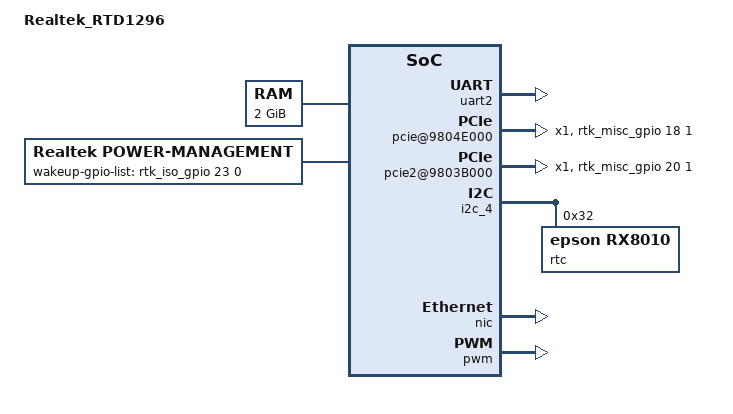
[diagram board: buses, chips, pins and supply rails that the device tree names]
/dts-v1/;
#define CONFIG_ARCH_RTD129X
#include "../../../../../include/soc/realtek/memory.h"

/memreserve/ SYS_BOOTCODE_MEMBASE       SYS_BOOTCODE_MEMSIZE        ; /* 0x00000000 ~ 0x00030000 */
/memreserve/ RPC_COMM_PHYS              RPC_COMM_SIZE               ; /* 0x0001f000 ~ 0x0001ffff */

/memreserve/ ION_MEDIA_HEAP_PHYS1       ION_MEDIA_HEAP_SIZE1        ; /* 0x02900000 ~ 0x08cfffff */
/memreserve/ ACPU_FIREWARE_PHYS         ACPU_FIREWARE_SIZE          ; /* 0x01b00000 ~ 0x01efffff */
/memreserve/ ION_AUDIO_HEAP_PHYS        ION_AUDIO_HEAP_SIZE         ; /* 0x02600000 ~ 0x028fffff */
/memreserve/ RPC_RINGBUF_PHYS           RPC_RINGBUF_SIZE            ; /* 0x01ffe000 ~ 0x02001fff */
/memreserve/ ION_MEDIA_HEAP_PHYS2       ION_MEDIA_HEAP_SIZE2        ; /* 0x10100000 ~ 0x132fffff */
/memreserve/ ACPU_IDMEM_PHYS            ACPU_IDMEM_SIZE             ; /* 0x10000000 ~ 0x10013fff */

#include "rtd-1296-MM.dtsi"
#include "rtd-129x-dvfs.dtsi"

/ {
	model= "Realtek_RTD1296";
	compatible = "Realtek,rtd-1296";

	aliases {
		serial0 = &uart0;
		serial2 = &uart2;
		i2c0	= &i2c_0;
		i2c4	= &i2c_4;
	};

	chosen {
		bootargs = "earlycon=uart8250,mmio32,0x98007800 console=ttyS0,115200 loglevel=7";
		compatible = "Realtek,rtk1295-cma_info";
		/* NOTE ---------------------------------------------------------------------------------------------*/
		/* <flag size base>                                                                                  */
		/* flag: reserved                                                                                    */
		/* size: unit is byte                                                                                */
		/* base: unit is byte                                                                                */
		/* --------------------------------------------------------------------------------------------------*/
		/* Array size not over 8;                                                                            */
		/* You may change the max array size in KConfig, max CMA array size is CONFIG_CMA_AREAS+1            */
		/* If cma-region-enable is enabled<1>, kernel driver will use cma-region-info to initial CMA memory. */
		/* If cma-region-enable is disabled<0>, kernel driver will use cma= to initial CMA memory.           */
		/* if both setting is loaded, cma-region-info had higher priority.                                   */
		/* --------------------------------------------------------------------------------------------------*/
		cma-region-enable = <1>;
		cma-region-info = <0x00000000 0x02000000 0x20000000>;
		/*cma-region-info = <0x00000000 0x01000000 0x12c00000>, <0x00000000 0x12c00000 0x20000000>;*/
	};

	memory {
		device_type = "memory";
		reg = <0 0x80000000>;	/* 2048 MB */
	};

	mem_remap {
		compatible = "Realtek,rtk1295-mem_remap";
		#address-cells = <1>;
		#size-cells = <1>;
		ranges;
		rbus {
			reg = <RBUS_BASE_PHYS RBUS_BASE_SIZE>;
		};
		common {
			reg = <RPC_COMM_PHYS RPC_COMM_SIZE>;
		};
		ringbuf {
			reg = <RPC_RINGBUF_PHYS RPC_RINGBUF_SIZE>;
		};
	};

    reserved-memory {
        #address-cells = <1>;
        #size-cells = <1>;
        ranges;

        pstore-area@0x2F000000 {
           reg = <0x2F000000 0x200000>;
        };

        pcie1-area@0x2F200000 {
            reg = <0x2F200000 0x20>;
        };
    };

	rtk,ion {
		compatible = "Realtek,rtk-ion";
		status = "okay";
		#address-cells = <1>;
		#size-cells = <0>;
		rtk,ion-heap@0 {    /* SYSTEM_HEAP */
			compatible = "Realtek,rtk-ion-reserve";
			reg = <0>;
			rtk,memory-reservation-size = <0x0>;
		};
		rtk,ion-heap@1 {    /* System contig */
			compatible = "Realtek,rtk-ion-reserve";
			reg = <1>;
			rtk,memory-reservation-size = <0x0>;
		};
		rtk,ion-heap@4 {    /* DMA_HEAP */
			compatible = "Realtek,rtk-ion-reserve";
			reg = <4>;
			rtk,memory-reservation-size = <0x0>;
		};
		rtk,ion-heap@8 {    /* Audio */
			compatible = "Realtek,rtk-ion-reserve";
			reg = <8>;
			rtk,memory-reserve = <
					ION_AUDIO_HEAP_PHYS ION_AUDIO_HEAP_SIZE ION_AUDIO_HEAP_FLAG
				>;
		};
		rtk,ion-heap@7 {    /* TYPE_MEDIA */
			compatible = "Realtek,rtk-ion-reserve";
			reg = <7>;
			rtk,memory-reserve = <
					ION_MEDIA_HEAP_PHYS1 ION_MEDIA_HEAP_SIZE1 ION_MEDIA_HEAP_FLAG1
					ION_MEDIA_HEAP_PHYS2 ION_MEDIA_HEAP_SIZE2 ION_MEDIA_HEAP_FLAG2
				>;
		};
	};

	rtk_misc_gpio: rtk_misc_gpio@9801b100 {
		//gpios = <&rtk_misc_gpio 8 0 0>;
		/* install button, input, default N/A */
	};

	rtk_iso_gpio: rtk_iso_gpio@98007100 {
		gpios = <&rtk_iso_gpio 15 0 0>;
		/* igpio15, iuput, default high */
	};

	timer {
		clock-frequency = <27000000>;
	};

	timer0@9801b000 {
		clock-frequency = <27000000>;
	};

	uart0: serial0@98007800 {
		clock-frequency = <27000000>;
	};

	uart2: serial2@9801B400 {
		compatible = "snps,dw-apb-uart";
		interrupt-parent = <&mux_intc>;
		reg = <0x9801B400 0x100>,
		      <0x9801B00c 0x100>;
		interrupts-st-mask = <0x100>;
		interrupts = <0 8>, <0 13>; /*UR2_INT and UR2_TO_INT*/
		reg-shift = <2>;
		reg-io-width = <4>;
		clocks = <&clk_enable_2 27>;
		resets = <&rst2 27>;
		/* This value must be overriden by the board. */
		clock-frequency = <432000000>;
		status = "okay";
    };

	pcie@9804E000 {
		compatible = "Realtek,rtd1295-pcie-slot1";
		reg = <0x9804E000 0x00001000
		       0x9804F000 0x00001000
		       0x9801C600 0x00000100
		       0x9801A000 0x00000300
		       0x98012000 0x00001000
               0x2F200000 0x20>;
		interrupt-names = "rtk-pcie1-intr";
		#interrupt-cells = <1>;
		interrupt-map-mask = <0 0 0 0>;
		interrupt-map = <0 0 0 0 &gic GIC_SPI 61 IRQ_TYPE_LEVEL_HIGH>;
		bus-range = <0x00 0xff>;
		linux,pci-domain = <0>;
		device_type = "pci";
		gpios = <&rtk_misc_gpio 18 1 0>;
		#size-cells = <2>;
		#address-cells = <3>;
		num-lanes = <1>;
		ranges = <0x02000000 0x00000000 0xC0000000  0xC0000000 0x00000000 0x01000000
			  0x01000000 0x00000000 0x00030000  0x00030000 0x00000000 0x00010000>;
		status = "okay";
	};

	pcie2@9803B000 {
		compatible = "Realtek,rtd1295-pcie-slot2";
		reg = <0x9803B000 0x00001000
		       0x9803C000 0x00001000
		       0x9801C600 0x00000100
		       0x9801A000 0x00000300
		       0x98012000 0x00001000>;
		interrupt-names = "rtk-pcie2-intr";
		#interrupt-cells = <1>;
		interrupt-map-mask = <0 0 0 0>;
		interrupt-map = <0 0 0 0 &gic GIC_SPI 62 IRQ_TYPE_LEVEL_HIGH>;
		bus-range = <0x00 0xff>;
		linux,pci-domain = <1>;
		device_type = "pci";
		gpios = <&rtk_misc_gpio 20 1 0>;
		#size-cells = <2>;
		#address-cells = <3>;
		num-lanes = <1>;
		ranges = <0x02000000 0x00000000 0xC1000000  0xC1000000 0x00000000 0x01000000
			  0x01000000 0x00000000 0x00040000  0x00040000 0x00000000 0x00010000>;
		speed-mode = <1>; // 0:GEN1, 1:GEN2
		status = "okay";
	};

	i2c_4: i2c@0x9801BA00 {
		compatible = "Realtek,rtk-i2c";
		reg = <0x9801BA00 0x400>;
		interrupt-parent = <&mux_intc>;
		interrupts = <0 15>;
		i2c-num = <4>;
		status = "okay";
		#address-cells = <1>;
		#size-cells = <0>;

		rtc@32 {
			compatible = "epson,rx8010";
			reg = <0x32>;
		};
	};

	nic: gmac@98016000 {
		compatible = "Realtek,r8168";
		reg = <0x98016000 0x1000>, <0x98007000 0x1000>;
		interrupts = <0 22 4>;
		rtl-config = <1>;
		mac-version = <42>;    /* RTL_GIGA_MAC_VER_42 */
		rtl-features = <2>;    /* BIT(2) GMii */
		iso-gpios = <&rtk_iso_gpio 31 1 1>;
		led-cfg = <0x00F4>;
		status = "okay";
	};

	pwm: pwm@980070D0 {
		compatible = "Realtek,rtd1295-pwm";
		#pwm-cells = <2>;
		reg = <0x980070D0 0xC>;
		status = "okay";

		pwm_0 {
			enable = <1>;
			clkout_div = <0xff>; //default OCD: from 0x0 to 0xff
			clksrc_div = <0x1>;  //default OSD: from 0x0 to 0xf
			duty_rate = <100>;  //default duty_rate 0 ~ 100
		};

		pwm_1 {
			enable = <0>;
			clkout_div = <0xff>; //default OCD: from 0x0 to 0xff
			clksrc_div = <0x1>;  //default OSD: from 0x0 to 0xf
			duty_rate = <100>;  //default duty_rate 0 ~ 100
		};

		pwm_2 {
			enable = <0>;
			clkout_div = <0xff>; //default OCD: from 0x0 to 0xff
			clksrc_div = <0x1>;  //default OSD: from 0x0 to 0xf
			duty_rate = <100>;  //default duty_rate 0 ~ 100
		};

		pwm_3 {
			enable = <1>;
			clkout_div = <0xff>; //default OCD: from 0x0 to 0xff
			clksrc_div = <0x1>;  //default OSD: from 0x0 to 0xf
			duty_rate = <100>;  //default duty_rate 0 ~ 100
		};
	};

	power-management {
		compatible = "Realtek,power-management";
		/* GPIO Wakeup */
		wakeup-gpio-enable = /* (0) disable (1) enable */
			<1>; /* Wakeup from CPU_WAKE : enable */
		wakeup-gpio-list = /* <&rtk_iso_gpio {num} {force input (0) } {default N/A (0)] }> */
			<&rtk_iso_gpio 23 0 0>; /* CPU_WAKE wakeup host pin */
		wakeup-gpio-activity = /* (0) active low (1) active high*/
			<1>; /* CPU_WAKE : high activity */
	};
};
